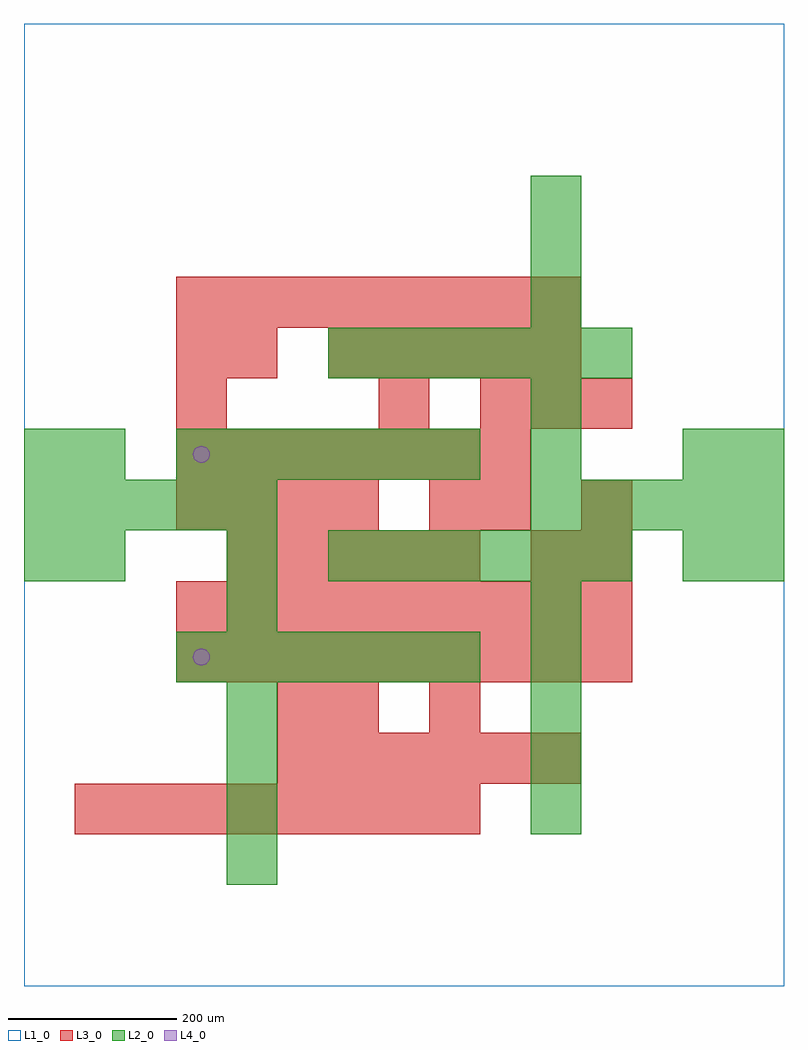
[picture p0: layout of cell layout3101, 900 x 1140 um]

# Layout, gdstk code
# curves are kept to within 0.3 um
import gdstk
lib = gdstk.Library(unit=1e-6, precision=1e-09)
def R(c, l, rs):  # rectangles x0, y0, x1, y1
    for r in rs: c.add(gdstk.rectangle(r[:2], r[2:], *l))
def A(c, l, x, y, w, h, nx, ny, dx, dy):  # array of equal rectangles
    R(c, l, [(x+i*dx, y+j*dy, x+i*dx+w, y+j*dy+h) for i in range(nx) for j in range(ny)])
def P(c, l, *ps):  # polygons
    for p in ps: c.add(gdstk.Polygon(p, *l))
L1_0 = (1, 0)
L2_0 = (2, 0)
L3_0 = (3, 0)
L4_0 = (4, 0)

layout3101 = lib.new_cell('layout3101')
R(layout3101, L1_0, [(0,0,900,1140)])
A(layout3101, L2_0, 240, 120, 60, 60, 1, 4, 0, 60)
A(layout3101, L2_0, 600, 180, 60, 60, 1, 5, 0, 60)
A(layout3101, L2_0, 180, 360, 60, 60, 6, 2, 60, 240)
A(layout3101, L2_0, 360, 480, 60, 60, 6, 2, 60, 240)
A(layout3101, L2_0, 0, 540, 60, 60, 5, 1, 60, 0)
A(layout3101, L2_0, 600, 540, 60, 60, 5, 1, 60, 0)
A(layout3101, L2_0, 600, 780, 60, 60, 1, 3, 0, 60)
R(layout3101, L2_0, [(240,420,300,480), (0,480,60,540), (60,480,120,540), (240,480,300,540), (780,480,840,540), (840,480,900,540), (0,600,60,660), (60,600,120,660), (600,600,660,660), (780,600,840,660), (840,600,900,660), (600,660,660,720)])
A(layout3101, L3_0, 60, 180, 60, 60, 8, 1, 60, 0)
A(layout3101, L3_0, 300, 240, 60, 60, 6, 1, 60, 0)
A(layout3101, L3_0, 180, 360, 60, 60, 9, 2, 60, 60)
A(layout3101, L3_0, 240, 480, 60, 60, 5, 1, 60, 0)
A(layout3101, L3_0, 180, 540, 60, 60, 4, 1, 60, 0)
A(layout3101, L3_0, 180, 600, 60, 60, 7, 1, 60, 0)
A(layout3101, L3_0, 540, 660, 60, 60, 3, 1, 60, 0)
A(layout3101, L3_0, 360, 720, 60, 60, 5, 1, 60, 0)
A(layout3101, L3_0, 180, 780, 60, 60, 8, 1, 60, 0)
R(layout3101, L3_0, [(300,300,360,360), (360,300,420,360), (480,300,540,360), (600,480,660,540), (660,480,720,540), (480,540,540,600), (540,540,600,600), (660,540,720,600), (180,660,240,720), (420,660,480,720), (180,720,240,780), (240,720,300,780)])
P(layout3101, L4_0, [(220,390),(219.239,393.827),(217.071,397.071),(213.827,399.239),(210,400),(206.173,399.239),(202.929,397.071),(200.761,393.827),(200,390),(200.761,386.173),(202.929,382.929),(206.173,380.761),(210,380),(213.827,380.761),(217.071,382.929),(219.239,386.173)],
  [(220,630),(219.239,633.827),(217.071,637.071),(213.827,639.239),(210,640),(206.173,639.239),(202.929,637.071),(200.761,633.827),(200,630),(200.761,626.173),(202.929,622.929),(206.173,620.761),(210,620),(213.827,620.761),(217.071,622.929),(219.239,626.173)])

lib.write_gds('layout3101.gds')
